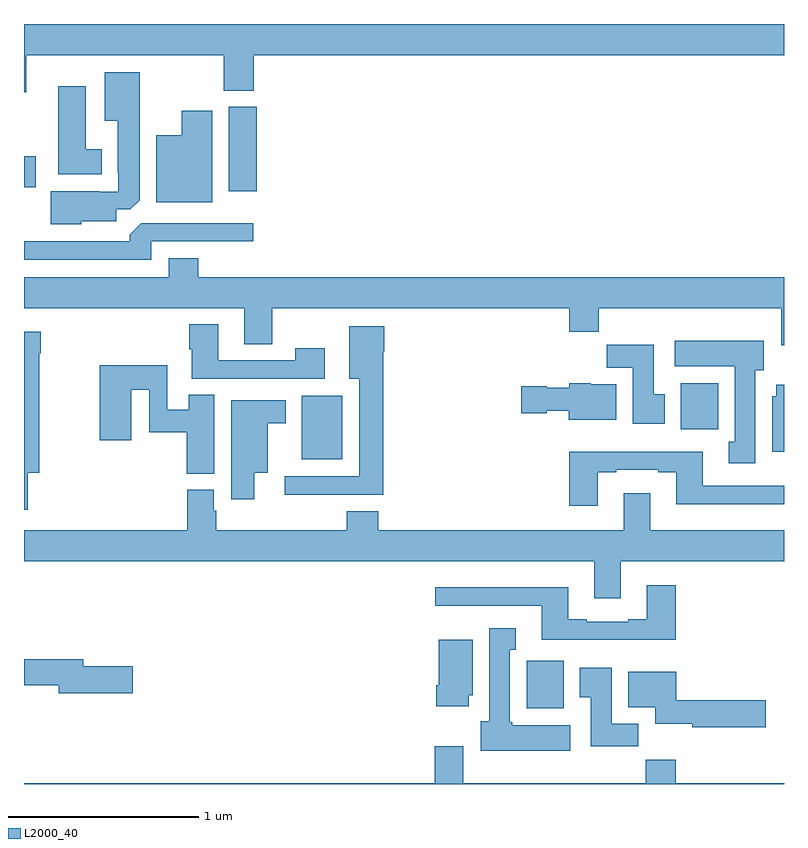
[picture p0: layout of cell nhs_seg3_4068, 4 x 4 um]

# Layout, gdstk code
import gdstk
lib = gdstk.Library(unit=1e-6, precision=1e-09)
def R(c, l, rs):  # rectangles x0, y0, x1, y1
    for r in rs: c.add(gdstk.rectangle(r[:2], r[2:], *l))
def P(c, l, *ps):  # polygons
    for p in ps: c.add(gdstk.Polygon(p, *l))
L2000_40 = (2000, 40)

nhs_seg3_4068 = lib.new_cell('nhs_seg3_4068')
R(nhs_seg3_4068, L2000_40, [(327.645,710.798,327.841,711.048), (326.462,712.109,326.674,712.444), (328.457,712.268,328.654,712.51), (326.078,713.52,326.225,713.964), (325,713.54,325.063,713.703)])
P(nhs_seg3_4068, L2000_40, [(325.012,714.236),(326.05,714.236),(326.05,714.049),(326.21,714.049),(326.21,714.236),(329,714.236),(329,714.4),(325,714.4),(325,714.042),(325.012,714.042)],
  [(325.302,713.363),(325.486,713.363),(325.486,713.424),(325.56,713.424),(325.609,713.473),(325.609,714.145),(325.424,714.145),(325.424,713.891),(325.493,713.891),(325.493,713.617),(325.497,713.617),(325.497,713.517),(325.397,713.517),(325.397,713.521),(325.142,713.521),(325.142,713.345),(325.302,713.345)],
  [(325.408,713.74),(325.324,713.74),(325.324,714.073),(325.181,714.073),(325.181,713.609),(325.408,713.609)],
  [(325.99,713.944),(325.829,713.944),(325.829,713.815),(325.697,713.815),(325.697,713.462),(325.99,713.462)],
  [(325.671,713.256),(326.206,713.256),(326.206,713.352),(325.617,713.352),(325.556,713.29),(325.556,713.256),(325,713.256),(325,713.16),(325.671,713.16)],
  [(329,713.068),(325.916,713.068),(325.916,713.167),(325.763,713.167),(325.763,713.068),(325,713.068),(325,712.904),(326.159,712.904),(326.159,712.714),(326.307,712.714),(326.307,712.904),(327.869,712.904),(327.869,712.78),(328.025,712.78),(328.025,712.904),(328.985,712.904),(328.985,712.71),(329,712.71)],
  [(326.584,712.693),(326.428,712.693),(326.428,712.629),(326.023,712.629),(326.023,712.819),(325.871,712.819),(325.871,712.687),(325.883,712.687),(325.883,712.533),(326.584,712.533)],
  [(326.891,712.674),(326.896,712.674),(326.896,712.81),(326.711,712.81),(326.711,712.532),(326.765,712.532),(326.765,712.02),(326.373,712.02),(326.373,711.923),(326.891,711.923)],
  [(325.019,712.037),(325.081,712.037),(325.081,712.667),(325.088,712.667),(325.088,712.78),(325,712.78),(325,711.843),(325.019,711.843)],
  [(328.849,712.578),(328.894,712.578),(328.894,712.732),(328.425,712.732),(328.425,712.598),(328.742,712.598),(328.742,712.202),(328.709,712.202),(328.709,712.089),(328.849,712.089)],
  [(328.372,712.452),(328.315,712.452),(328.315,712.711),(328.066,712.711),(328.066,712.592),(328.205,712.592),(328.205,712.296),(328.372,712.296)],
  [(326.002,712.448),(325.868,712.448),(325.868,712.369),(325.755,712.369),(325.755,712.603),(325.399,712.603),(325.399,712.209),(325.564,712.209),(325.564,712.474),(325.659,712.474),(325.659,712.252),(325.856,712.252),(325.856,712.033),(326.002,712.033)],
  [(328.117,712.504),(327.984,712.504),(327.984,712.51),(327.87,712.51),(327.87,712.486),(327.75,712.486),(327.75,712.494),(327.618,712.494),(327.618,712.352),(327.75,712.352),(327.75,712.364),(327.866,712.364),(327.866,712.316),(328.117,712.316)],
  [(329,712.501),(328.958,712.501),(328.958,712.44),(328.937,712.44),(328.937,712.148),(329,712.148)],
  [(326.212,712.037),(326.284,712.037),(326.284,712.298),(326.377,712.298),(326.377,712.42),(326.09,712.42),(326.09,711.9),(326.212,711.9)],
  [(328.021,712.041),(328.117,712.041),(328.117,712.053),(328.337,712.053),(328.337,712.041),(328.433,712.041),(328.433,711.872),(329,711.872),(329,711.969),(328.573,711.969),(328.573,712.15),(327.869,712.15),(327.869,711.864),(328.021,711.864)],
  [(328.141,711.572),(329,711.572),(329,711.736),(328.297,711.736),(328.297,711.931),(328.157,711.931),(328.157,711.736),(326.864,711.736),(326.864,711.835),(326.699,711.835),(326.699,711.736),(326.012,711.736),(326.012,711.837),(325.999,711.837),(325.999,711.948),(325.859,711.948),(325.859,711.736),(325,711.736),(325,711.572),(328.001,711.572),(328.001,711.378),(328.141,711.378)],
  [(328.43,711.445),(328.277,711.445),(328.277,711.268),(328.181,711.268),(328.181,711.255),(327.961,711.255),(327.961,711.268),(327.865,711.268),(327.865,711.436),(327.165,711.436),(327.165,711.339),(327.725,711.339),(327.725,711.158),(328.43,711.158)],
  [(327.874,710.71),(327.57,710.71),(327.57,710.724),(327.556,710.724),(327.556,711.107),(327.589,711.107),(327.589,711.22),(327.449,711.22),(327.449,710.73),(327.404,710.73),(327.404,710.576),(327.874,710.576)],
  [(327.34,710.868),(327.361,710.868),(327.361,711.16),(327.182,711.16),(327.182,710.92),(327.17,710.92),(327.17,710.808),(327.34,710.808)],
  [(325.573,711.02),(325.312,711.02),(325.312,711.056),(325,711.056),(325,710.92),(325.184,710.92),(325.184,710.878),(325.573,710.878)],
  [(328.232,710.716),(328.093,710.716),(328.093,711.013),(327.926,711.013),(327.926,710.857),(327.983,710.857),(327.983,710.598),(328.232,710.598)],
  [(328.903,710.84),(328.432,710.84),(328.432,710.992),(328.181,710.992),(328.181,710.804),(328.322,710.804),(328.322,710.717),(328.518,710.717),(328.518,710.698),(328.903,710.698)],
  [(329,710.404),(328.43,710.404),(328.43,710.528),(328.273,710.528),(328.273,710.404),(327.313,710.404),(327.313,710.599),(327.161,710.599),(327.161,710.404),(325,710.404),(325,710.4),(329,710.4)])

lib.write_gds('nhs_seg3_4068.gds')
